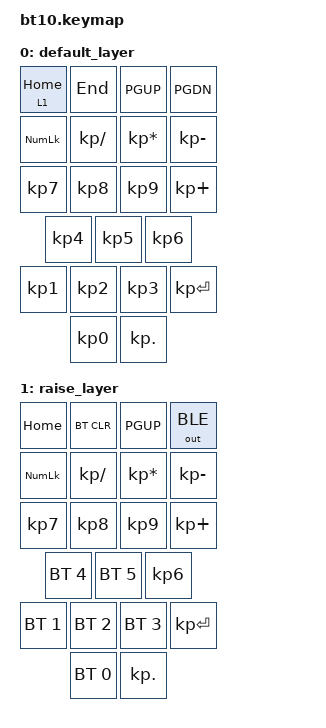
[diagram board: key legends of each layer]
#include <behaviors.dtsi>
#include <dt-bindings/zmk/keys.h>
#include <dt-bindings/zmk/bt.h>
#include <dt-bindings/zmk/outputs.h>
#include <dt-bindings/zmk/backlight.h>

/ {
	keymap {
		compatible = "zmk,keymap";

		default_layer {
			bindings = <
				 &lt 1 HOME    &kp END     &kp PGUP        &kp  PGDN
				  &kp KP_NUM  &kp KP_SLASH &kp KP_ASTERISK &kp KP_MINUS
				 &kp KP_N7   &kp KP_N8    &kp KP_N9       &kp KP_PLUS
				   &kp KP_N4   &kp KP_N5    &kp KP_N6
				&kp KP_N1   &kp KP_N2    &kp KP_N3       &kp KP_ENTER
				      &kp KP_N0          &kp KP_DOT
			>;
		};
		raise_layer {
			bindings = <
				 &kp HOME    &bt BT_CLR     &kp PGUP        &out OUT_BLE
				  &kp KP_NUM  &kp KP_SLASH &kp KP_ASTERISK &kp KP_MINUS
				 &kp KP_N7   &kp KP_N8    &kp KP_N9       &kp KP_PLUS
				   &bt BT_SEL 4   &bt BT_SEL 5    &kp KP_N6
				&bt BT_SEL 1   &bt BT_SEL 2    &bt BT_SEL 3       &kp KP_ENTER
				      &bt BT_SEL 0          &kp KP_DOT
			>;
		};
	};
};
